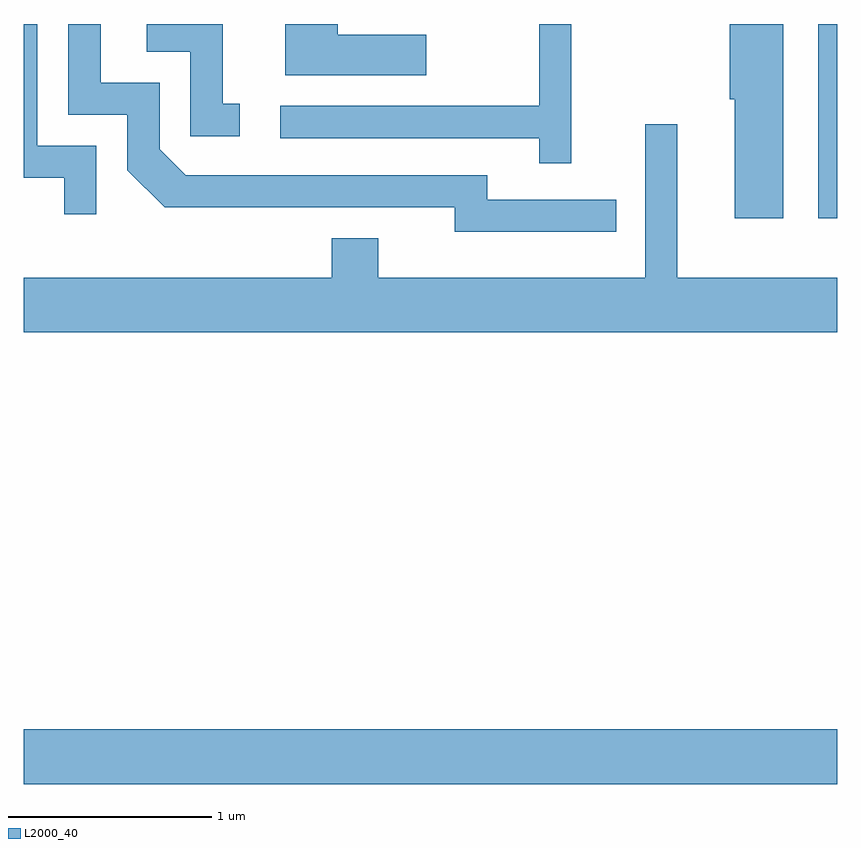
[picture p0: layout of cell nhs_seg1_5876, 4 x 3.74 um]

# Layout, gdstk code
import gdstk
lib = gdstk.Library(unit=1e-6, precision=1e-09)
def R(c, l, rs):  # rectangles x0, y0, x1, y1
    for r in rs: c.add(gdstk.rectangle(r[:2], r[2:], *l))
def P(c, l, *ps):  # polygons
    for p in ps: c.add(gdstk.Polygon(p, *l))
L2000_40 = (2000, 40)

nhs_seg1_5876 = lib.new_cell('nhs_seg1_5876')
R(nhs_seg1_5876, L2000_40, [(361.611,943.976,365.611,944.244), (365.516,946.756,365.611,947.712)])
P(nhs_seg1_5876, L2000_40, [(362.673,947.319),(362.589,947.319),(362.589,947.712),(362.216,947.712),(362.216,947.576),(362.431,947.576),(362.431,947.161),(362.673,947.161)],
  [(365.344,947.712),(365.081,947.712),(365.081,947.341),(365.106,947.341),(365.106,946.756),(365.344,946.756)],
  [(364.304,947.712),(364.146,947.712),(364.146,947.309),(362.873,947.309),(362.873,947.151),(364.146,947.151),(364.146,947.028),(364.304,947.028)],
  [(361.969,947.114),(361.679,947.114),(361.679,947.712),(361.611,947.712),(361.611,946.956),(361.811,946.956),(361.811,946.778),(361.969,946.778)],
  [(364.523,946.849),(363.889,946.849),(363.889,946.969),(362.407,946.969),(362.279,947.097),(362.279,947.424),(361.989,947.424),(361.989,947.712),(361.831,947.712),(361.831,947.266),(362.121,947.266),(362.121,946.994),(362.304,946.811),(363.731,946.811),(363.731,946.691),(364.523,946.691)],
  [(363.589,947.659),(363.154,947.659),(363.154,947.712),(362.896,947.712),(362.896,947.461),(363.589,947.461)],
  [(365.611,946.464),(364.824,946.464),(364.824,947.218),(364.666,947.218),(364.666,946.464),(363.354,946.464),(363.354,946.659),(363.126,946.659),(363.126,946.464),(361.611,946.464),(361.611,946.196),(365.611,946.196)])

lib.write_gds('nhs_seg1_5876.gds')
